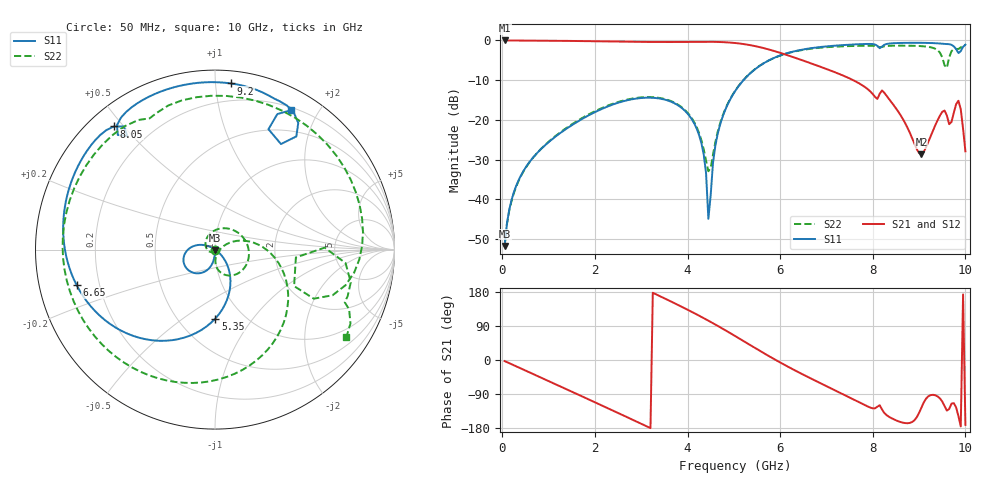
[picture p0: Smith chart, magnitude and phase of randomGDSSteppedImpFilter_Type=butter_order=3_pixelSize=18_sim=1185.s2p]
! freq	dB(S11)	phase(S11)	dB(S12)	phase(S12)
!  dB(S21)	phase(S21)	dB(S22)	phase(S22)
!S-par simulation data
#  GHz  S  DB  R 50
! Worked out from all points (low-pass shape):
!   200 points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, 50 MHz to 10 GHz, reference 50 ohm
!   highest |S21| = -0.01 dB at 50 MHz (marker M1); lowest = -28.6 dB at 9.05 GHz (marker M2)
!   |S21| within 3 dB of the highest: start of sweep to 5.969 GHz
!   lowest |S11| = -51.7 dB at 50 MHz (marker M3), VSWR 1.01, Z = 50 - j0.257 ohm
!   |S11| at or under -10 dB: start of sweep to 5.208 GHz
!   |S22| runs from -51.8 to -1.1 dB; largest |S21 - S12| = 0
!   S11 on the Smith chart (normalised r, x): 50 MHz: 1.00, -0.01; 5.35 GHz: 0.75, -0.67; 6.65 GHz: 0.12, -0.12; 8.05 GHz: 0.07, +0.47; 9.2 GHz: 0.08, +1.10; 10 GHz: 0.23, +1.66
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0.05  -51.72 -81.2  -0.01 -2.8  -0.01 -2.8  -51.77 -87.8
0.45  -33.00 -92.0  -0.04 -25.0  -0.04 -25.0  -33.12 -138.5
1.75  -19.58 -106.4  -0.16 -97.5  -0.16 -97.5  -19.35 89.9
2.65  -15.19 -131.4  -0.31 -148.3  -0.31 -148.3  -15.01 14.7
3.4  -14.62 -161.0  -0.40 168.7  -0.40 168.7  -14.47 -39.9
4.2  -22.25 160.0  -0.34 120.2  -0.34 120.2  -21.88 -87.6
4.35  -28.75 151.3  -0.33 110.4  -0.33 110.4  -27.41 -83.2
4.45  -44.90 113.9  -0.34 103.8  -0.34 103.8  -32.92 -45.1
4.65  -23.58 -44.8  -0.38 90.2  -0.38 90.2  -23.06 25.1
5.05  -12.37 -70.1  -0.68 61.7  -0.68 61.7  -12.29 6.5
5.35  -8.31 -89.7  -1.18 39.7  -1.18 39.7  -8.27 -15.8
6.65  -1.98 -165.7  -5.70 -47.9  -5.70 -47.9  -2.11 -114.0
6.7  -1.90 -168.1  -5.91 -51.0  -5.91 -51.0  -2.04 -117.7
7.45  -1.10 157.6  -9.30 -95.9  -9.30 -95.9  -1.44 -176.6
8.05  -1.03 129.4  -14.21 -127.5  -14.21 -127.5  -1.40 126.1
8.35  -0.79 122.8  -14.74 -149.7  -14.74 -149.7  -1.36 96.9
9.05  -0.60 91.2  -28.63 -125.5  -28.63 -125.5  -1.44 22.1
9.2  -0.63 84.6  -25.49 -95.7  -25.49 -95.7  -1.62 6.7
9.55  -0.88 68.7  -17.65 -121.6  -17.65 -121.6  -6.28 -24.8
9.65  -0.94 63.4  -21.08 -129.4  -21.08 -129.4  -4.28 1.0
9.85  -3.18 58.0  -15.18 -148.2  -15.18 -148.2  -2.16 -22.1
10  -1.07 61.5  -27.89 -171.3  -27.89 -171.3  -1.12 -33.6
